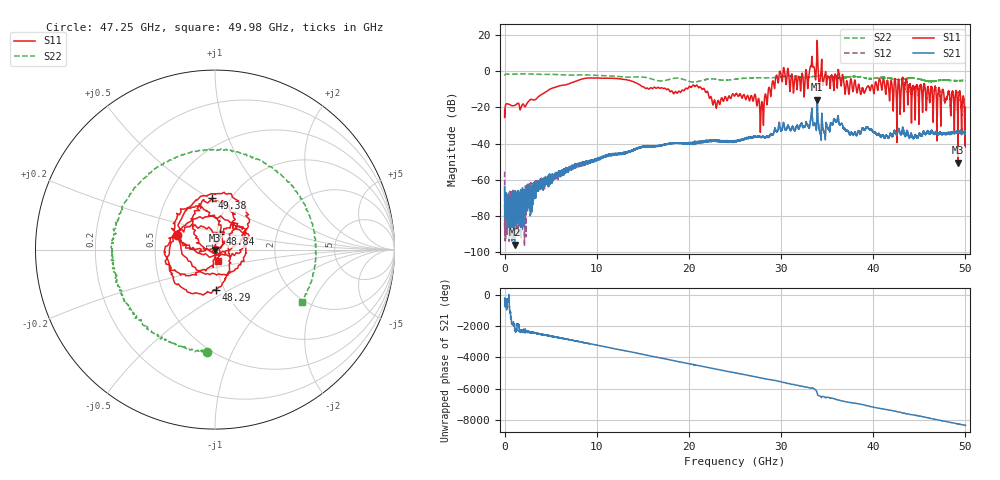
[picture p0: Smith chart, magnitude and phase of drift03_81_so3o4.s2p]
!Created with skrf (http://scikit-rf.org).
# Hz S RI R 50.0
!freq ReS11 ImS11 ReS21 ImS21 ReS12 ImS12 ReS22 ImS22
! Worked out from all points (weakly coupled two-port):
!   10001 points, 300 kHz to 50 GHz, reference 50 ohm
!   highest |S21| = -15.59 dB at 33.92 GHz (marker M1); lowest = -96.3 dB at 1.08 GHz (marker M2)
!   lowest |S11| = -50.7 dB at 49.18 GHz (marker M3), VSWR 1.01, Z = 49.8 - j0.24 ohm
!   |S11| at or under -10 dB: start of sweep to 4.849 GHz; 21.69 GHz to 28.62 GHz (6.932 GHz wide, 27.6 % of centre); 47.54 GHz to end of sweep (the widest 3 of 45)
!   |S22| runs from -5.9 to -1.3 dB; largest |S21 - S12| = 0.017
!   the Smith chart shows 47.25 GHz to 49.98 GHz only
!   S11 on the Smith chart (normalised r, x): 47.25 GHz: 0.64, +0.11; 48.29 GHz: 0.91, -0.43; 48.84 GHz: 1.04, +0.18; 49.38 GHz: 0.82, +0.51; 49.98 GHz: 1.02, -0.13
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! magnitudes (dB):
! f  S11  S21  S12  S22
! 300 kHz  -21.2  -63.9  -55.6  -2.0
! 255.3 MHz  -17.9  -80.2  -70.8  -1.4
! 1.08 GHz  -18.9  -96.3  -75.1  -1.5
! 8.335 GHz  -4.3  -51.7  -52.0  -1.9
! 16.67 GHz  -8.8  -41.4  -41.4  -5.1
! 21.01 GHz  -8.7  -39.8  -39.6  -5.5
! 22.81 GHz  -16.1  -38.4  -38.7  -4.2
! 25 GHz  -13.4  -38.5  -38.8  -4.3
! 27.92 GHz  -17.2  -36.3  -36.7  -3.5
! 29.69 GHz  -6.4  -32.1  -31.6  -3.1
! 32.32 GHz  -1.5  -30.3  -30.7  -3.3
! 33.34 GHz  7.9  -20.5  -20.9  -2.9
! 33.92 GHz  17.2  -15.6  -16.0  -2.4
! 38.82 GHz  -9.2  -31.4  -31.8  -3.4
! 41.67 GHz  -9.1  -36.8  -36.7  -3.6
! 47.25 GHz  -12.9  -33.8  -33.8  -4.8
! 48.29 GHz  -13.0  -34.6  -34.4  -5.0
! 48.84 GHz  -20.7  -33.7  -34.0  -5.0
! 49.18 GHz  -50.7  -33.6  -33.6  -5.1
! 49.38 GHz  -10.8  -33.3  -33.7  -5.1
! 49.98 GHz  -23.4  -34.2  -34.0  -5.0
! 50 GHz  -19.8  -34.0  -34.0  -4.9
